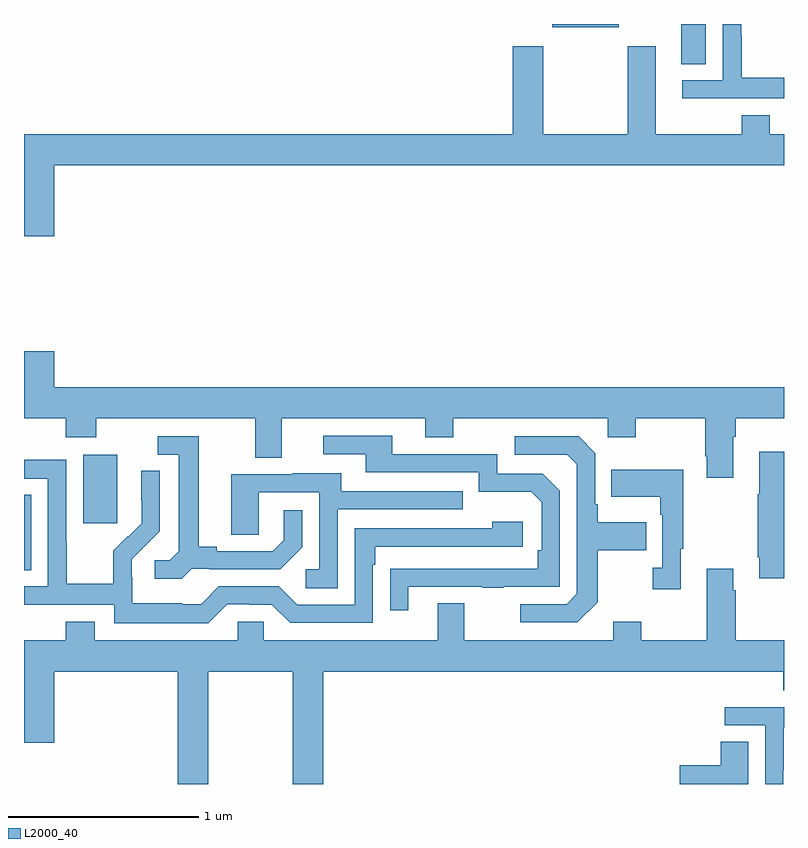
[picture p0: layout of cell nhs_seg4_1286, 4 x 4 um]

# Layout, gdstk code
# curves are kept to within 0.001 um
import gdstk
lib = gdstk.Library(unit=1e-6, precision=1e-09)
def R(c, l, rs):  # rectangles x0, y0, x1, y1
    for r in rs: c.add(gdstk.rectangle(r[:2], r[2:], *l))
def P(c, l, *ps):  # polygons
    for p in ps: c.add(gdstk.Polygon(p, *l))
L2000_40 = (2000, 40)

nhs_seg4_1286 = lib.new_cell('nhs_seg4_1286')
R(nhs_seg4_1286, L2000_40, [(177,792.025,177.037,792.422), (177.311,792.273,177.49,792.634), (180.458,794.689,180.589,794.9), (179.78,794.882,180.13,794.9)])
P(nhs_seg4_1286, L2000_40, [(181,794.617),(180.777,794.617),(180.777,794.84),(180.774,794.84),(180.774,794.9),(180.678,794.9),(180.678,794.604),(180.465,794.604),(180.465,794.508),(181,794.508)],
  [(177.16,794.156),(181,794.156),(181,794.32),(180.925,794.32),(180.925,794.419),(180.778,794.419),(180.778,794.32),(180.325,794.32),(180.325,794.782),(180.178,794.782),(180.178,794.32),(179.733,794.32),(179.733,794.782),(179.573,794.782),(179.573,794.32),(177,794.32),(177,793.782),(177.16,793.782)],
  [(177.16,793.177),(177,793.177),(177,792.824),(177.221,792.824),(177.221,792.725),(177.381,792.725),(177.381,792.824),(178.217,792.824),(178.217,792.616),(178.357,792.616),(178.357,792.824),(179.111,792.824),(179.111,792.725),(179.259,792.725),(179.259,792.824),(180.072,792.824),(180.072,792.725),(180.219,792.725),(180.219,792.824),(180.586,792.824),(180.586,792.625),(180.593,792.625),(180.593,792.513),(180.733,792.513),(180.733,792.728),(180.746,792.728),(180.746,792.824),(181,792.824),(181,792.988),(177.16,792.988)],
  [(179.023,791.937),(179.413,791.937),(179.413,791.932),(179.525,791.932),(179.525,791.937),(179.82,791.937),(179.82,792.444),(179.73,792.534),(179.49,792.534),(179.49,792.636),(178.939,792.636),(178.939,792.732),(178.575,792.732),(178.575,792.636),(178.799,792.636),(178.799,792.54),(179.394,792.54),(179.394,792.437),(179.671,792.437),(179.724,792.384),(179.724,792.13),(179.704,792.13),(179.704,792.033),(178.927,792.032),(178.927,791.814),(179.023,791.814)],
  [(177.882,792.033),(177.976,792.033),(177.976,792.03),(178.348,792.03),(178.464,792.146),(178.464,792.34),(178.367,792.34),(178.367,792.183),(178.31,792.126),(178.015,792.126),(178.015,792.149),(177.919,792.149),(177.919,792.729),(177.705,792.729),(177.705,792.633),(177.815,792.633),(177.815,792.125),(177.768,792.078),(177.687,792.078),(177.687,791.981),(177.83,791.981)],
  [(180.019,791.857),(180.019,792.13),(180.275,792.13),(180.275,792.277),(180.019,792.277),(180.019,792.373),(180.006,792.373),(180.006,792.642),(179.919,792.729),(179.583,792.729),(179.583,792.633),(179.859,792.633),(179.91,792.582),(179.91,791.901),(179.856,791.847),(179.613,791.847),(179.613,791.751),(179.913,791.751)],
  [(181,792.649),(180.869,792.649),(180.869,792.425),(180.862,792.425),(180.862,792.094),(180.869,792.094),(180.869,791.982),(181,791.982)],
  [(178.071,791.847),(178.187,791.847),(178.187,791.844),(178.305,791.844),(178.401,791.748),(178.836,791.748),(178.836,792.053),(178.849,792.053),(178.849,792.15),(179.626,792.15),(179.626,792.28),(179.465,792.28),(179.465,792.246),(178.74,792.246),(178.74,791.844),(178.437,791.844),(178.341,791.94),(178.026,791.94),(177.933,791.847),(177.833,791.847),(177.833,791.851),(177.57,791.851),(177.57,791.985),(177.568,791.985),(177.568,792.082),(177.714,792.23),(177.714,792.548),(177.618,792.548),(177.618,792.394),(177.62,792.394),(177.62,792.272),(177.549,792.201),(177.546,792.204),(177.469,792.127),(177.469,791.953),(177.225,791.953),(177.225,792.176),(177.222,792.176),(177.222,792.606),(177,792.606),(177,792.507),(177.126,792.507),(177.126,791.94),(177,791.94),(177,791.844),(177.474,791.844),(177.474,791.747),(177.971,791.747)],
  [(180.457,792.137),(180.469,792.137),(180.469,792.553),(180.091,792.553),(180.091,792.413),(180.348,792.413),(180.348,792.317),(180.36,792.317),(180.36,792.038),(180.309,792.038),(180.309,791.925),(180.457,791.925)],
  [(178.65,792.345),(179.309,792.345),(179.309,792.441),(178.669,792.441),(178.669,792.535),(178.415,792.535),(178.415,792.531),(178.091,792.531),(178.091,792.211),(178.236,792.211),(178.236,792.435),(178.554,792.435),(178.554,792.03),(178.482,792.03),(178.482,791.929),(178.65,791.929)],
  [(177.969,791.492),(178.414,791.492),(178.414,790.9),(178.574,790.9),(178.574,791.492),(180.995,791.492),(180.995,791.393),(181,791.393),(181,791.656),(180.746,791.656),(180.746,791.921),(180.733,791.921),(180.733,792.034),(180.593,792.034),(180.593,791.656),(180.249,791.656),(180.249,791.755),(180.101,791.755),(180.101,791.656),(179.317,791.656),(179.317,791.851),(179.177,791.851),(179.177,791.656),(178.263,791.656),(178.263,791.754),(178.125,791.754),(178.125,791.656),(177.373,791.656),(177.373,791.755),(177.221,791.755),(177.221,791.656),(177,791.656),(177,791.118),(177.16,791.118),(177.16,791.492),(177.809,791.492),(177.809,790.9),(177.969,790.9)],
  [(180.996,790.972),(180.999,790.972),(180.999,791.196),(181,791.196),(181,791.304),(180.687,791.304),(180.687,791.208),(180.9,791.208),(180.9,790.9),(180.996,790.9)],
  [(180.811,791.123),(180.668,791.123),(180.668,791),(180.45,791),(180.45,790.9),(180.811,790.9)])

lib.write_gds('nhs_seg4_1286.gds')
